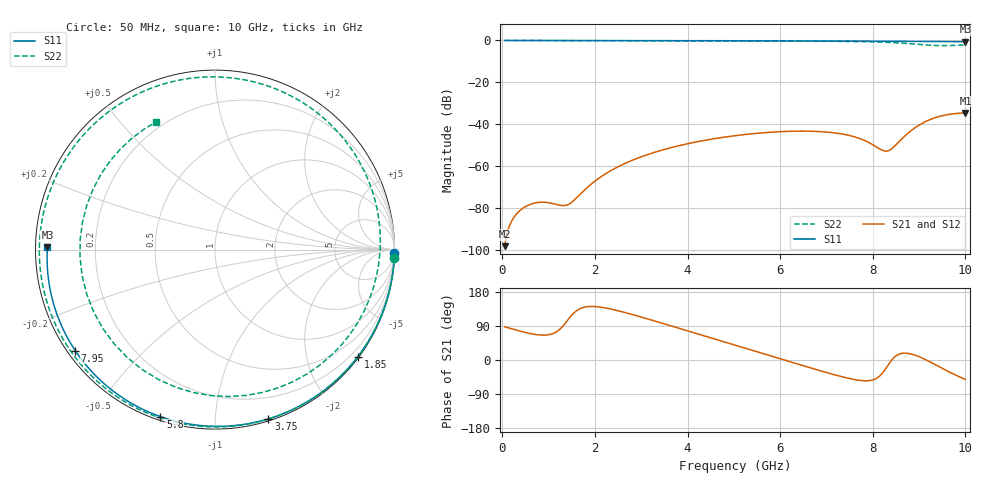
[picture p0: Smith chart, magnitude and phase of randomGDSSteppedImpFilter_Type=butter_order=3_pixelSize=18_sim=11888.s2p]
! freq	dB(S11)	phase(S11)	dB(S12)	phase(S12)
!  dB(S21)	phase(S21)	dB(S22)	phase(S22)
!S-par simulation data
#  GHz  S  DB  R 50
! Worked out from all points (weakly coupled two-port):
!   200 points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, 50 MHz to 10 GHz, reference 50 ohm
!   highest |S21| = -34.51 dB at 10 GHz (marker M1); lowest = -98.0 dB at 50 MHz (marker M2)
!   lowest |S11| = -0.6 dB at 10 GHz (marker M3), VSWR 29.16, Z = 1.71 + j0.371 ohm
!   |S11| at or under -10 dB: nowhere
!   |S22| runs from -2.5 to 0.0 dB; largest |S21 - S12| = 0
!   S11 on the Smith chart (normalised r, x): 50 MHz: open; 1.85 GHz: 0.03, -3.00; 3.75 GHz: 0.02, -1.36; 5.8 GHz: 0.02, -0.72; 7.95 GHz: 0.02, -0.32; 10 GHz: 0.03, +0.01
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0.05  -0.00 -1.0  -98.01 87.8  -98.01 87.8  -0.00 -2.7
0.6  -0.02 -12.1  -78.13 69.9  -78.13 69.9  -0.04 -32.5
0.9  -0.02 -18.1  -77.07 65.6  -77.07 65.6  -0.06 -48.1
1.35  -0.03 -27.0  -78.64 95.4  -78.64 95.4  -0.08 -70.5
1.75  -0.04 -34.9  -71.83 138.6  -71.83 138.6  -0.10 -89.1
1.85  -0.05 -36.8  -69.78 140.9  -69.78 140.9  -0.11 -93.6
2.5  -0.06 -49.3  -60.17 130.0  -60.17 130.0  -0.13 -120.9
3.4  -0.09 -66.1  -52.55 99.0  -52.55 99.0  -0.16 -154.9
3.75  -0.10 -72.5  -50.48 86.1  -50.48 86.1  -0.17 -167.4
4.4  -0.12 -84.1  -47.47 62.2  -47.47 62.2  -0.20 169.8
5.05  -0.15 -95.4  -45.31 38.2  -45.31 38.2  -0.23 146.9
5.8  -0.19 -108.1  -43.72 10.6  -43.72 10.6  -0.28 119.0
6.7  -0.24 -123.2  -43.27 -22.4  -43.27 -22.4  -0.35 81.2
7.35  -0.29 -134.1  -44.62 -44.7  -44.62 -44.7  -0.45 48.4
7.95  -0.35 -144.1  -49.03 -53.9  -49.03 -53.9  -0.65 10.4
8.35  -0.39 -151.0  -52.43 -9.8  -52.43 -9.8  -0.93 -22.4
8.75  -0.43 -157.9  -44.38 17.6  -44.38 17.6  -1.44 -65.2
9.05  -0.47 -163.2  -39.70 6.0  -39.70 6.0  -1.97 -105.9
9.3  -0.50 -167.7  -37.16 -9.1  -37.16 -9.1  -2.34 -144.7
9.5  -0.53 -171.4  -35.85 -22.1  -35.85 -22.1  -2.46 -176.5
9.7  -0.55 -175.1  -35.05 -34.6  -35.05 -34.6  -2.40 153.5
10  -0.60 179.1  -34.51 -51.0  -34.51 -51.0  -2.12 114.8
